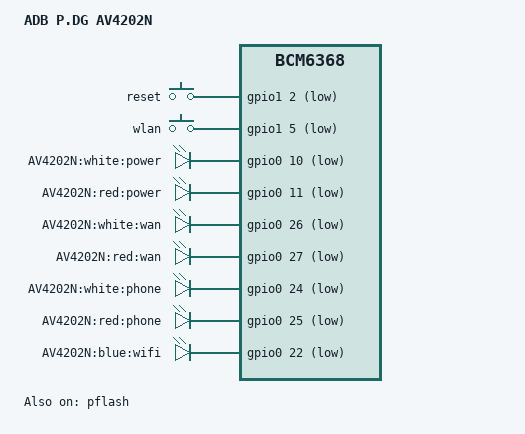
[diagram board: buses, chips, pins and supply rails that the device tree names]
/dts-v1/;

#include "bcm6368.dtsi"

#include <dt-bindings/gpio/gpio.h>
#include <dt-bindings/input/input.h>

/ {
	model = "ADB P.DG AV4202N";
	compatible = "adb,av4202n", "brcm,bcm6368";

	chosen {
		bootargs = "root=/dev/mtdblock2 rootfstype=squashfs,jffs2 noinitrd console=ttyS0,115200";
	};

	gpio-keys-polled {
		compatible = "gpio-keys-polled";
		#address-cells = <1>;
		#size-cells = <0>;
		poll-interval = <20>;
		debounce-interval = <60>;

		reset {
			label = "reset";
			gpios = <&gpio1 2 GPIO_ACTIVE_LOW>;
			linux,code = <KEY_RESTART>;
		};
		wlan {
			label = "wlan";
			gpios = <&gpio1 5 GPIO_ACTIVE_LOW>;
			linux,code = <KEY_WLAN>;
		};
	};

	gpio-leds {
		compatible = "gpio-leds";

		power_white {
			label = "AV4202N:white:power";
			gpios = <&gpio0 10 GPIO_ACTIVE_LOW>;
			default-state = "on";
		};
		power_red {
			label = "AV4202N:red:power";
			gpios = <&gpio0 11 GPIO_ACTIVE_LOW>;
		};
		wan_white {
			label = "AV4202N:white:wan";
			gpios = <&gpio0 26 GPIO_ACTIVE_LOW>;
		};
		wan_red {
			label = "AV4202N:red:wan";
			gpios = <&gpio0 27 GPIO_ACTIVE_LOW>;
		};
		phone_white {
			label = "AV4202N:white:phone";
			gpios = <&gpio0 24 GPIO_ACTIVE_LOW>;
		};
		phone_red {
			label = "AV4202N:red:phone";
			gpios = <&gpio0 25 GPIO_ACTIVE_LOW>;
		};
		wifi {
			label = "AV4202N:blue:wifi";
			gpios = <&gpio0 22 GPIO_ACTIVE_LOW>;
		};
	};
};

&pflash {
	status = "ok";

	linux,part-probe = "bcm63xxpart";

	cfe@0 {
		label = "CFE";
		reg = <0x000000 0x020000>;
		read-only;
	};

	linux@20000 {
		label = "linux";
		reg = <0x010000 0xfe0000>;
	};

	nvram@fe0000 {
		label = "nvram";
		reg = <0xfe0000 0x020000>;
	};
};
